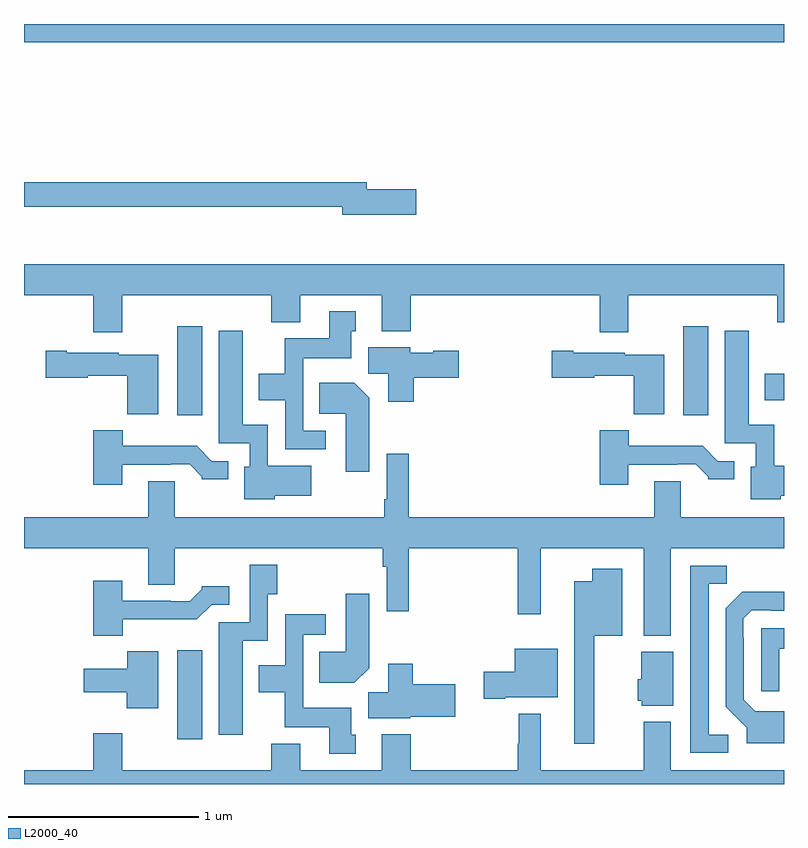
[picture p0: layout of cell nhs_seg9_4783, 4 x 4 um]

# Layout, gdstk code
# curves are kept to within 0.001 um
import gdstk
lib = gdstk.Library(unit=1e-6, precision=1e-09)
def R(c, l, rs):  # rectangles x0, y0, x1, y1
    for r in rs: c.add(gdstk.rectangle(r[:2], r[2:], *l))
def P(c, l, *ps):  # polygons
    for p in ps: c.add(gdstk.Polygon(p, *l))
L2000_40 = (2000, 40)

nhs_seg9_4783 = lib.new_cell('nhs_seg9_4783')
R(nhs_seg9_4783, L2000_40, [(387.806,1208.736,387.937,1209.205), (387.806,1210.44,387.937,1210.909), (390.47,1210.44,390.601,1210.909), (390.899,1210.52,391,1210.66), (387,1212.404,391,1212.5)])
P(nhs_seg9_4783, L2000_40, [(389.065,1211.63),(388.804,1211.63),(388.804,1211.666),(387,1211.666),(387,1211.538),(388.676,1211.538),(388.676,1211.495),(389.065,1211.495)],
  [(387.517,1211.072),(388.301,1211.072),(388.301,1210.931),(388.453,1210.931),(388.453,1211.072),(388.883,1211.072),(388.883,1210.883),(389.036,1210.883),(389.036,1211.072),(390.029,1211.072),(390.029,1210.878),(390.181,1210.878),(390.181,1211.072),(390.965,1211.072),(390.965,1210.931),(391,1210.931),(391,1211.236),(387,1211.236),(387,1211.072),(387.365,1211.072),(387.365,1210.878),(387.517,1210.878)],
  [(388.588,1210.359),(388.47,1210.359),(388.47,1210.742),(388.723,1210.742),(388.723,1210.884),(388.747,1210.884),(388.747,1210.987),(388.607,1210.987),(388.607,1210.846),(388.372,1210.846),(388.372,1210.66),(388.235,1210.66),(388.235,1210.52),(388.374,1210.52),(388.374,1210.263),(388.588,1210.263)],
  [(390.984,1210.016),(391,1210.016),(391,1210.174),(390.948,1210.174),(390.948,1210.39),(390.814,1210.39),(390.814,1210.885),(390.689,1210.885),(390.689,1210.293),(390.852,1210.293),(390.852,1210.17),(390.824,1210.17),(390.824,1209.998),(390.984,1209.998)],
  [(388.32,1210.016),(388.513,1210.016),(388.513,1210.174),(388.284,1210.174),(388.284,1210.39),(388.15,1210.39),(388.15,1210.885),(388.025,1210.885),(388.025,1210.293),(388.188,1210.293),(388.188,1210.17),(388.16,1210.17),(388.16,1209.998),(388.32,1209.998)],
  [(389.051,1210.637),(389.287,1210.637),(389.287,1210.779),(389.154,1210.779),(389.154,1210.771),(389.034,1210.771),(389.034,1210.798),(388.811,1210.798),(388.811,1210.66),(388.916,1210.66),(388.916,1210.512),(389.051,1210.512)],
  [(387.706,1210.759),(387.498,1210.759),(387.498,1210.771),(387.226,1210.771),(387.226,1210.779),(387.114,1210.779),(387.114,1210.637),(387.336,1210.637),(387.336,1210.649),(387.544,1210.649),(387.544,1210.445),(387.706,1210.445)],
  [(390.37,1210.759),(390.162,1210.759),(390.162,1210.771),(389.89,1210.771),(389.89,1210.779),(389.778,1210.779),(389.778,1210.637),(390,1210.637),(390,1210.649),(390.208,1210.649),(390.208,1210.445),(390.37,1210.445)],
  [(388.816,1210.534),(388.738,1210.612),(388.555,1210.612),(388.555,1210.448),(388.694,1210.448),(388.694,1210.143),(388.816,1210.143)],
  [(390.181,1210.179),(390.437,1210.179),(390.437,1210.182),(390.536,1210.182),(390.6,1210.118),(390.6,1210.103),(390.739,1210.103),(390.739,1210.2),(390.651,1210.2),(390.573,1210.279),(390.184,1210.279),(390.184,1210.363),(390.029,1210.363),(390.029,1210.074),(390.181,1210.074)],
  [(387.517,1210.179),(387.773,1210.179),(387.773,1210.182),(387.872,1210.182),(387.936,1210.118),(387.936,1210.103),(388.075,1210.103),(388.075,1210.2),(387.987,1210.2),(387.909,1210.279),(387.52,1210.279),(387.52,1210.363),(387.365,1210.363),(387.365,1210.074),(387.517,1210.074)],
  [(390.403,1209.74),(391,1209.74),(391,1209.904),(390.457,1209.904),(390.457,1210.094),(390.317,1210.094),(390.317,1209.904),(389.024,1209.904),(389.024,1210.237),(388.908,1210.237),(388.908,1210),(388.896,1210),(388.896,1209.904),(387.793,1209.904),(387.793,1210.094),(387.653,1210.094),(387.653,1209.904),(387,1209.904),(387,1209.74),(387.653,1209.74),(387.653,1209.55),(387.793,1209.55),(387.793,1209.74),(388.888,1209.74),(388.888,1209.644),(388.908,1209.644),(388.908,1209.408),(389.024,1209.408),(389.024,1209.74),(389.598,1209.74),(389.598,1209.393),(389.719,1209.393),(389.719,1209.74),(390.263,1209.74),(390.263,1209.281),(390.403,1209.281)],
  [(388.15,1209.254),(388.284,1209.254),(388.284,1209.499),(388.332,1209.499),(388.332,1209.655),(388.188,1209.655),(388.188,1209.351),(388.025,1209.351),(388.025,1208.76),(388.15,1208.76)],
  [(390.706,1208.76),(390.603,1208.76),(390.603,1209.553),(390.699,1209.553),(390.699,1209.648),(390.507,1209.648),(390.507,1208.664),(390.706,1208.664)],
  [(390.001,1209.281),(390.148,1209.281),(390.148,1209.634),(389.99,1209.634),(389.99,1209.568),(389.897,1209.568),(389.897,1208.712),(390.001,1208.712)],
  [(387.52,1209.366),(387.909,1209.366),(387.987,1209.444),(388.081,1209.444),(388.081,1209.541),(387.936,1209.541),(387.936,1209.526),(387.872,1209.462),(387.773,1209.462),(387.773,1209.465),(387.517,1209.465),(387.517,1209.571),(387.365,1209.571),(387.365,1209.281),(387.52,1209.281)],
  [(391,1208.884),(390.849,1208.883),(390.789,1208.943),(390.789,1209.269),(390.786,1209.269),(390.786,1209.369),(390.831,1209.414),(390.931,1209.414),(390.931,1209.411),(391,1209.411),(391,1209.512),(390.779,1209.512),(390.693,1209.426),(390.693,1208.906),(390.803,1208.796),(390.803,1208.714),(391,1208.714)],
  [(388.816,1209.11),(388.816,1209.502),(388.694,1209.502),(388.694,1209.196),(388.555,1209.196),(388.555,1209.032),(388.738,1209.032)],
  [(388.747,1208.76),(388.723,1208.76),(388.723,1208.902),(388.47,1208.902),(388.47,1209.285),(388.588,1209.285),(388.588,1209.394),(388.374,1209.394),(388.374,1209.124),(388.235,1209.124),(388.235,1208.984),(388.372,1208.984),(388.372,1208.798),(388.607,1208.798),(388.607,1208.658),(388.747,1208.658)],
  [(390.976,1209.213),(391,1209.213),(391,1209.321),(390.879,1209.321),(390.879,1208.988),(390.976,1208.988)],
  [(389.533,1208.957),(389.809,1208.957),(389.809,1209.211),(389.582,1209.211),(389.582,1209.092),(389.421,1209.092),(389.421,1208.95),(389.533,1208.95)],
  [(387.706,1209.199),(387.544,1209.199),(387.544,1209.106),(387.315,1209.106),(387.315,1208.984),(387.542,1208.984),(387.542,1208.898),(387.706,1208.898)],
  [(390.418,1209.196),(390.248,1209.196),(390.248,1209.051),(390.23,1209.051),(390.23,1208.937),(390.252,1208.937),(390.252,1208.912),(390.418,1208.912)],
  [(389.034,1208.855),(389.269,1208.855),(389.269,1209.026),(389.046,1209.026),(389.046,1209.133),(388.916,1209.133),(388.916,1208.984),(388.811,1208.984),(388.811,1208.846),(389.034,1208.846)],
  [(391,1208.572),(390.403,1208.572),(390.403,1208.827),(390.263,1208.827),(390.263,1208.572),(389.719,1208.572),(389.719,1208.869),(389.605,1208.869),(389.605,1208.712),(389.598,1208.712),(389.598,1208.572),(389.036,1208.572),(389.036,1208.761),(388.883,1208.761),(388.883,1208.572),(388.453,1208.572),(388.453,1208.713),(388.301,1208.713),(388.301,1208.572),(387.517,1208.572),(387.517,1208.767),(387.365,1208.767),(387.365,1208.572),(387,1208.572),(387,1208.5),(391,1208.5)])

lib.write_gds('nhs_seg9_4783.gds')
